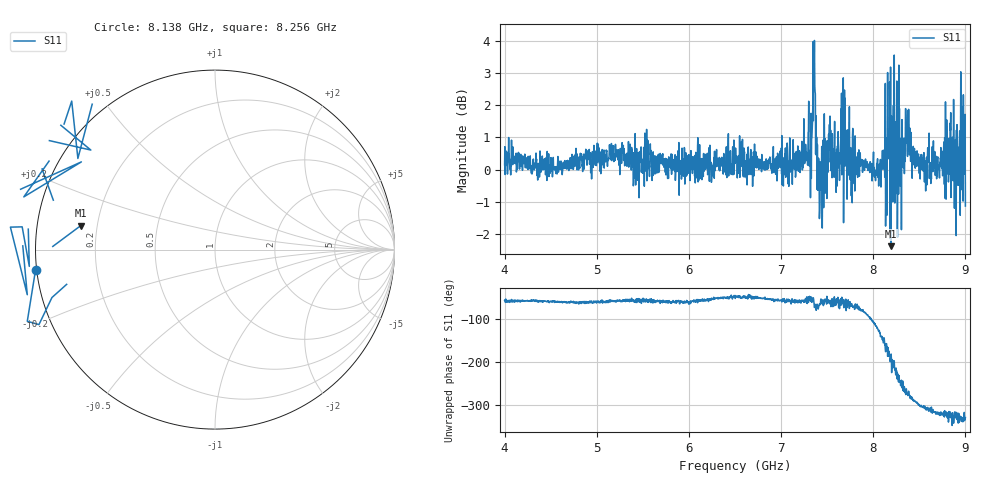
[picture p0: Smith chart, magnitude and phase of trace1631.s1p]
! Created with skrf 1.8.0 (http://scikit-rf.org).
# Hz S RI R 50.0
!freq ReS11 ImS11
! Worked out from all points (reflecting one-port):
!   1601 points, 4 GHz to 9 GHz, reference 50 ohm
!   lowest |S11| = -2.4 dB at 8.191 GHz (marker M1), VSWR 7.31, Z = 6.89 + j4.36 ohm
!   phase of S11 starts at -56 deg and turns -273 deg over the sweep
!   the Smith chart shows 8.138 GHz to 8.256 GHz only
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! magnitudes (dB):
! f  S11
! 4 GHz  0.1
! 4.625 GHz  -0.2
! 5.25 GHz  -0.2
! 5.875 GHz  0.3
! 6.5 GHz  0.2
! 7.125 GHz  0.1
! 7.303 GHz  0.5
! 7.328 GHz  -0.3
! 7.347 GHz  4.0
! 7.362 GHz  4.0
! 7.397 GHz  -0.5
! 7.422 GHz  -1.0
! 7.525 GHz  1.4
! 7.619 GHz  1.2
! 7.669 GHz  1.7
! 7.75 GHz  -0.3
! 8.038 GHz  0.2
! 8.156 GHz  3.0
! 8.191 GHz  -2.4
! 8.253 GHz  0.8
! 8.312 GHz  1.6
! 8.375 GHz  0.8
! 8.441 GHz  0.3
! 8.556 GHz  -0.4
! 8.819 GHz  -0.2
! 8.906 GHz  0.1
! 8.972 GHz  0.7
! 9 GHz  -1.1
